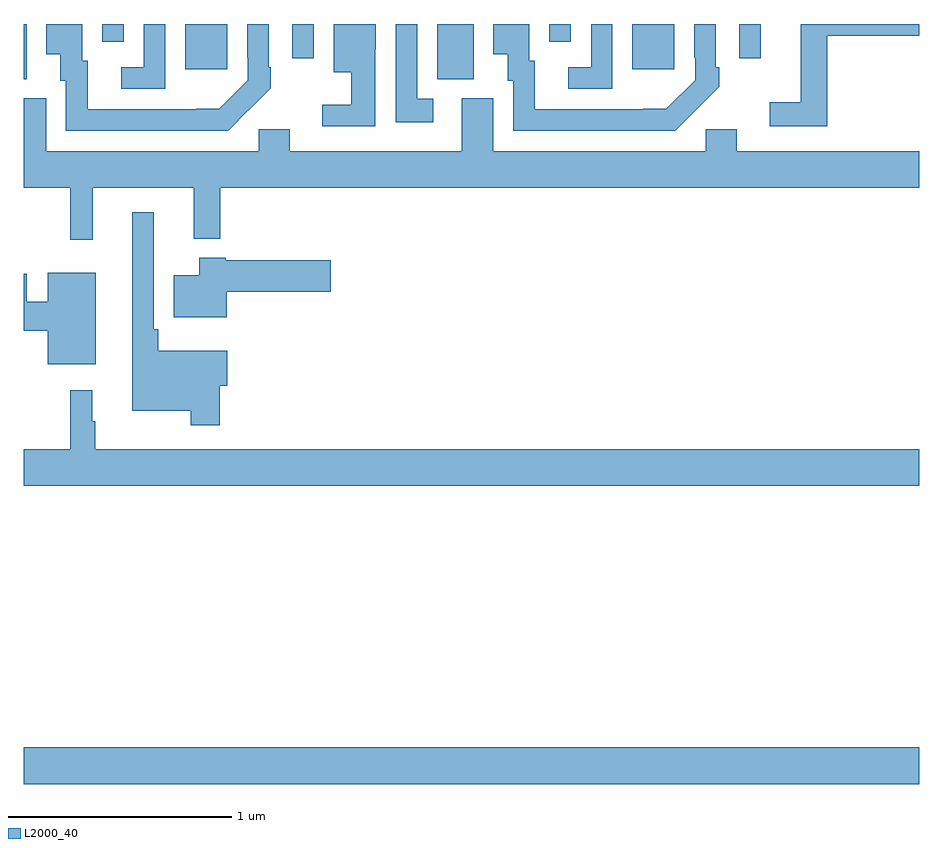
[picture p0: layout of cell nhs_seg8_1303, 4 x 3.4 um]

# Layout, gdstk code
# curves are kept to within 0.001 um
import gdstk
lib = gdstk.Library(unit=1e-6, precision=1e-09)
def R(c, l, rs):  # rectangles x0, y0, x1, y1
    for r in rs: c.add(gdstk.rectangle(r[:2], r[2:], *l))
def P(c, l, *ps):  # polygons
    for p in ps: c.add(gdstk.Polygon(p, *l))
L2000_40 = (2000, 40)

nhs_seg8_1303 = lib.new_cell('nhs_seg8_1303')
R(nhs_seg8_1303, L2000_40, [(193,1112.504,197,1112.668), (193,1115.653,193.012,1115.9), (194.846,1115.653,195.01,1115.9), (193.721,1115.697,193.909,1115.9), (195.719,1115.697,195.907,1115.9), (194.199,1115.748,194.295,1115.9), (196.197,1115.748,196.293,1115.9), (193.35,1115.82,193.446,1115.9), (195.348,1115.82,195.444,1115.9)])
P(nhs_seg8_1303, L2000_40, [(194.003,1115.515),(194.004,1115.514),(194.102,1115.612),(194.102,1115.707),(194.094,1115.707),(194.094,1115.9),(193.998,1115.9),(193.998,1115.749),(194.001,1115.749),(194.001,1115.649),(193.873,1115.521),(193.769,1115.52),(193.285,1115.52),(193.285,1115.736),(193.261,1115.736),(193.261,1115.9),(193.1,1115.9),(193.1,1115.765),(193.163,1115.765),(193.163,1115.646),(193.188,1115.646),(193.188,1115.424),(193.912,1115.424)],
  [(194.571,1115.788),(194.572,1115.788),(194.572,1115.9),(194.384,1115.9),(194.384,1115.684),(194.463,1115.684),(194.463,1115.539),(194.334,1115.539),(194.334,1115.442),(194.571,1115.442)],
  [(194.83,1115.565),(194.757,1115.565),(194.757,1115.9),(194.661,1115.9),(194.661,1115.46),(194.83,1115.46)],
  [(196.589,1115.848),(197,1115.848),(197,1115.9),(196.472,1115.9),(196.472,1115.551),(196.332,1115.551),(196.332,1115.442),(196.589,1115.442)],
  [(195.63,1115.9),(195.534,1115.9),(195.534,1115.706),(195.432,1115.706),(195.432,1115.61),(195.63,1115.61)],
  [(193.632,1115.9),(193.536,1115.9),(193.536,1115.706),(193.434,1115.706),(193.434,1115.61),(193.632,1115.61)],
  [(196.001,1115.515),(196.002,1115.514),(196.107,1115.619),(196.107,1115.707),(196.092,1115.707),(196.092,1115.9),(195.996,1115.9),(195.996,1115.749),(195.999,1115.749),(195.999,1115.649),(195.871,1115.521),(195.767,1115.52),(195.283,1115.52),(195.283,1115.736),(195.259,1115.736),(195.259,1115.9),(195.098,1115.9),(195.098,1115.765),(195.161,1115.765),(195.161,1115.646),(195.186,1115.646),(195.186,1115.424),(195.91,1115.424)],
  [(193.307,1115.168),(193.76,1115.168),(193.76,1114.94),(193.877,1114.94),(193.877,1115.168),(197,1115.168),(197,1115.332),(196.186,1115.332),(196.186,1115.43),(196.047,1115.43),(196.047,1115.332),(195.097,1115.332),(195.097,1115.568),(194.957,1115.568),(194.957,1115.332),(194.188,1115.332),(194.188,1115.43),(194.049,1115.43),(194.049,1115.332),(193.099,1115.332),(193.099,1115.568),(193,1115.568),(193,1115.168),(193.207,1115.168),(193.207,1114.935),(193.307,1114.935)],
  [(193.874,1114.283),(193.909,1114.283),(193.909,1114.441),(193.601,1114.441),(193.601,1114.537),(193.581,1114.537),(193.581,1115.059),(193.484,1115.059),(193.484,1114.172),(193.746,1114.172),(193.746,1114.107),(193.874,1114.107)],
  [(193.906,1114.703),(194.371,1114.703),(194.371,1114.845),(193.902,1114.845),(193.902,1114.855),(193.784,1114.855),(193.784,1114.777),(193.67,1114.777),(193.67,1114.589),(193.906,1114.589)],
  [(193.321,1114.789),(193.106,1114.789),(193.106,1114.658),(193.012,1114.658),(193.012,1114.783),(193,1114.783),(193,1114.529),(193.106,1114.529),(193.106,1114.379),(193.321,1114.379)],
  [(197,1114),(193.318,1114),(193.318,1114.124),(193.306,1114.124),(193.306,1114.264),(193.207,1114.264),(193.207,1114),(193,1114),(193,1113.836),(197,1113.836)])

lib.write_gds('nhs_seg8_1303.gds')
